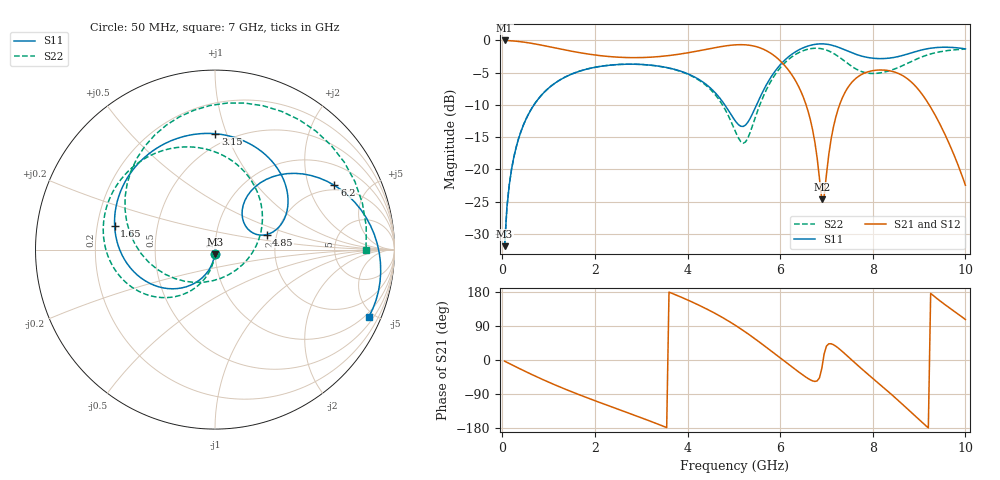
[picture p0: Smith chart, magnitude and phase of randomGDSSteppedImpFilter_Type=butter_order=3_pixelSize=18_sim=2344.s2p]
! freq	dB(S11)	phase(S11)	dB(S12)	phase(S12)
!  dB(S21)	phase(S21)	dB(S22)	phase(S22)
!S-par simulation data
#  GHz  S  DB  R 50
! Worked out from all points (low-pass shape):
!   200 points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, 50 MHz to 10 GHz, reference 50 ohm
!   highest |S21| = 0.00 dB at 50 MHz (marker M1); lowest = -24.6 dB at 6.9 GHz (marker M2)
!   |S21| within 3 dB of the highest: start of sweep to 5.977 GHz
!   lowest |S11| = -31.9 dB at 50 MHz (marker M3), VSWR 1.05, Z = 49.8 - j2.52 ohm
!   |S11| at or under -10 dB: start of sweep to 685 MHz; 4.804 GHz to 5.49 GHz (686 MHz wide, 13.3 % of centre)
!   |S22| runs from -31.9 to -1.2 dB; largest |S21 - S12| = 0
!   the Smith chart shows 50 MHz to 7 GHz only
!   S11 on the Smith chart (normalised r, x): 50 MHz: 1.00, -0.05; 1.65 GHz: 0.27, +0.11; 3.15 GHz: 0.41, +0.91; 4.85 GHz: 1.77, +0.32; 6.2 GHz: 1.79, +2.98; 7 GHz: 0.78, -4.65
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0.05  -31.93 -93.5  -0.00 -3.1  -0.00 -3.1  -31.92 -92.8
0.2  -19.98 -104.1  -0.06 -12.3  -0.06 -12.3  -19.98 -101.3
0.45  -13.24 -121.0  -0.25 -27.4  -0.25 -27.4  -13.23 -114.8
1.65  -4.82 166.9  -1.87 -91.1  -1.87 -91.1  -4.81 -170.2
1.75  -4.60 161.5  -1.99 -95.8  -1.99 -95.8  -4.59 -174.3
3.15  -3.80 89.8  -2.62 -159.3  -2.62 -159.3  -3.81 131.1
3.4  -4.01 77.2  -2.50 -171.1  -2.50 -171.1  -4.03 120.4
4.2  -5.86 37.5  -1.67 147.3  -1.67 147.3  -5.96 79.0
4.85  -10.49 16.2  -0.82 105.3  -0.82 105.3  -11.23 21.1
5.05  -12.67 23.2  -0.68 90.1  -0.68 90.1  -14.40 -15.6
5.55  -9.07 58.9  -1.12 47.5  -1.12 47.5  -10.23 -153.2
6.2  -2.43 28.3  -4.80 -13.1  -4.80 -13.1  -2.84 117.8
6.7  -0.68 -4.5  -13.84 -55.1  -13.84 -55.1  -1.24 49.6
6.9  -0.53 -17.4  -24.65 -21.9  -24.65 -21.9  -1.30 17.5
7  -0.58 -23.7  -20.78 36.7  -20.78 36.7  -1.50 -0.0
7.35  -1.32 -42.4  -8.80 21.7  -8.80 21.7  -2.99 -69.1
7.75  -2.41 -55.4  -5.32 -22.2  -5.32 -22.2  -4.81 -156.5
8.35  -2.75 -67.6  -4.70 -85.1  -4.70 -85.1  -4.73 78.6
8.8  -2.01 -79.3  -6.25 -135.0  -6.25 -135.0  -3.39 -12.5
9.2  -1.26 -96.5  -9.79 -179.1  -9.79 -179.1  -2.20 -84.8
9.6  -1.06 -119.2  -15.22 142.4  -15.22 142.4  -1.59 -140.0
10  -1.31 -148.2  -22.47 106.9  -22.47 106.9  -1.34 179.2
